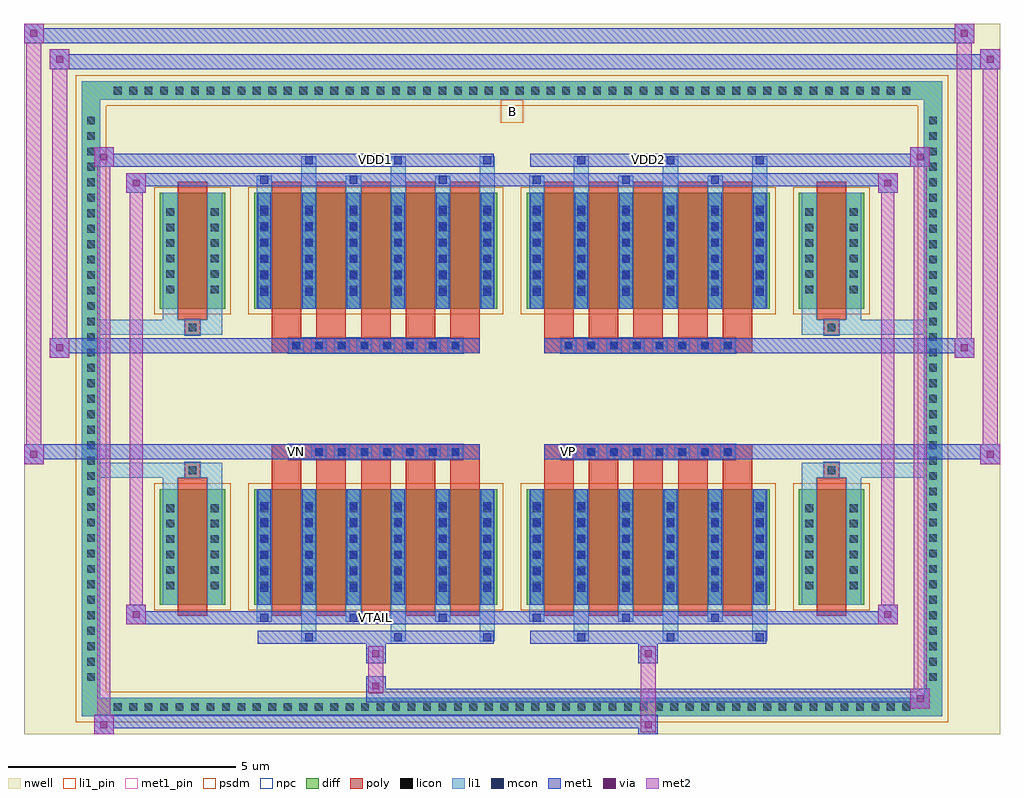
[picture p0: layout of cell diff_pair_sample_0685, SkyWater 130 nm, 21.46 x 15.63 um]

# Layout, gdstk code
import gdstk
lib = gdstk.Library(unit=1e-6, precision=5e-09)
def R(c, l, rs):  # rectangles x0, y0, x1, y1
    for r in rs: c.add(gdstk.rectangle(r[:2], r[2:], *l))
def A(c, l, x, y, w, h, nx, ny, dx, dy):  # array of equal rectangles
    R(c, l, [(x+i*dx, y+j*dy, x+i*dx+w, y+j*dy+h) for i in range(nx) for j in range(ny)])
def P(c, l, *ps):  # polygons
    for p in ps: c.add(gdstk.Polygon(p, *l))
nwell = (64, 20)
diff = (65, 20)
poly = (66, 20)
licon = (66, 44)
li1_pin = (67, 16)
li1 = (67, 20)
mcon = (67, 44)
met1_pin = (68, 16)
met1 = (68, 20)
via = (68, 44)
met2 = (69, 20)
psdm = (94, 20)
npc = (95, 20)

diff_pair_sample_0685 = lib.new_cell('diff_pair_sample_0685')
R(diff_pair_sample_0685, nwell, [(-10.73,-7.38,10.73,8.25), (-8.05,-5.57,-0.01,-0.805), (0.01,-5.57,8.05,-0.805), (-8.05,0.805,-0.01,5.57), (0.01,0.805,8.05,5.57)])
A(diff_pair_sample_0685, diff, -8.875, -6.98, 0.41, 0.41, 52, 2, 0.34, 13.55)
A(diff_pair_sample_0685, diff, -9.46, -6.325, 0.41, 0.41, 1, 37, 0, 0.34)
A(diff_pair_sample_0685, diff, 9.05, -6.325, 0.41, 0.41, 1, 37, 0, 0.34)
R(diff_pair_sample_0685, diff, [(-8.875,-6.98,8.875,-6.57), (-9.46,-6.325,-9.05,6.325), (9.05,-6.325,9.46,6.325), (-7.74,-4.525,-6.31,-1.985), (-5.67,-4.525,-0.32,-1.985), (0.32,-4.525,5.67,-1.985), (6.31,-4.525,7.74,-1.985), (-7.74,1.985,-6.31,4.525), (-5.67,1.985,-0.32,4.525), (0.32,1.985,5.67,4.525), (6.31,1.985,7.74,4.525), (-8.875,6.57,8.875,6.98)])
P(diff_pair_sample_0685, diff, [(9.46,6.98),(-9.46,6.98),(-9.46,-6.57),(-9.05,-6.57),(-9.05,6.57),(9.05,6.57),(9.05,-6.57),(-9.05,-6.57),(-9.46,-6.57),(-9.46,-6.98),(9.46,-6.98)])
A(diff_pair_sample_0685, poly, -5.28, -4.775, 0.65, 3.04, 5, 2, 0.98, 6.51)
A(diff_pair_sample_0685, poly, 0.71, -4.775, 0.65, 3.04, 5, 2, 0.98, 6.51)
A(diff_pair_sample_0685, poly, -5.28, -1.735, 0.65, 0.4, 5, 2, 0.98, 3.07)
A(diff_pair_sample_0685, poly, 0.71, -1.735, 0.65, 0.4, 5, 2, 0.98, 3.07)
A(diff_pair_sample_0685, poly, -4.91, -1.335, 0.33, 0.33, 8, 2, 0.5, 2.34)
A(diff_pair_sample_0685, poly, 1.08, -1.335, 0.33, 0.33, 8, 2, 0.5, 2.34)
R(diff_pair_sample_0685, poly, [(-7.35,-4.775,-6.7,-1.735), (6.7,-4.775,7.35,-1.735), (-7.19,-1.735,-6.86,-1.405), (-7.19,-1.735,-6.86,-1.405), (6.86,-1.735,7.19,-1.405), (6.86,-1.735,7.19,-1.405), (-5.28,-1.335,-0.71,-1.005), (0.71,-1.335,5.28,-1.005), (-5.28,1.005,-0.71,1.335), (0.71,1.005,5.28,1.335), (-7.19,1.405,-6.86,1.735), (-7.19,1.405,-6.86,1.735), (6.86,1.405,7.19,1.735), (6.86,1.405,7.19,1.735), (-7.35,1.735,-6.7,4.775), (6.7,1.735,7.35,4.775)])
A(diff_pair_sample_0685, licon, -8.755, -6.86, 0.17, 0.17, 52, 2, 0.34, 13.55)
A(diff_pair_sample_0685, licon, -9.34, -6.205, 0.17, 0.17, 1, 37, 0, 0.34)
A(diff_pair_sample_0685, licon, 9.17, -6.205, 0.17, 0.17, 1, 37, 0, 0.34)
A(diff_pair_sample_0685, licon, -7.6, -4.19, 0.17, 0.17, 1, 6, 0, 0.34)
A(diff_pair_sample_0685, licon, -6.62, -4.19, 0.17, 0.17, 1, 6, 0, 0.34)
A(diff_pair_sample_0685, licon, -5.53, -4.19, 0.17, 0.17, 6, 6, 0.98, 0.34)
A(diff_pair_sample_0685, licon, 0.46, -4.19, 0.17, 0.17, 6, 6, 0.98, 0.34)
A(diff_pair_sample_0685, licon, 6.45, -4.19, 0.17, 0.17, 1, 6, 0, 0.34)
A(diff_pair_sample_0685, licon, 7.43, -4.19, 0.17, 0.17, 1, 6, 0, 0.34)
A(diff_pair_sample_0685, licon, -4.83, -1.255, 0.17, 0.17, 8, 2, 0.5, 2.34)
A(diff_pair_sample_0685, licon, 1.16, -1.255, 0.17, 0.17, 8, 2, 0.5, 2.34)
A(diff_pair_sample_0685, licon, -7.6, 2.32, 0.17, 0.17, 1, 6, 0, 0.34)
A(diff_pair_sample_0685, licon, -6.62, 2.32, 0.17, 0.17, 1, 6, 0, 0.34)
A(diff_pair_sample_0685, licon, -5.53, 2.32, 0.17, 0.17, 6, 6, 0.98, 0.34)
A(diff_pair_sample_0685, licon, 0.46, 2.32, 0.17, 0.17, 6, 6, 0.98, 0.34)
A(diff_pair_sample_0685, licon, 6.45, 2.32, 0.17, 0.17, 1, 6, 0, 0.34)
A(diff_pair_sample_0685, licon, 7.43, 2.32, 0.17, 0.17, 1, 6, 0, 0.34)
R(diff_pair_sample_0685, licon, [(-7.11,-1.655,-6.94,-1.485), (6.94,-1.655,7.11,-1.485), (-7.11,1.485,-6.94,1.655), (6.94,1.485,7.11,1.655)])
R(diff_pair_sample_0685, li1_pin, [(-0.25,6.07,0.25,6.57)])
A(diff_pair_sample_0685, li1, -8.835, -6.94, 0.33, 0.33, 52, 2, 0.34, 13.55)
A(diff_pair_sample_0685, li1, -9.42, -6.285, 0.33, 0.33, 1, 37, 0, 0.34)
A(diff_pair_sample_0685, li1, 9.09, -6.285, 0.33, 0.33, 1, 37, 0, 0.34)
A(diff_pair_sample_0685, li1, -4.63, -5.33, 0.33, 0.805, 3, 2, 1.96, 9.855)
A(diff_pair_sample_0685, li1, -4.55, -5.33, 0.17, 0.17, 3, 2, 1.96, 10.49)
A(diff_pair_sample_0685, li1, 1.36, -5.33, 0.33, 0.805, 3, 2, 1.96, 9.855)
A(diff_pair_sample_0685, li1, 1.44, -5.33, 0.17, 0.17, 3, 2, 1.96, 10.49)
A(diff_pair_sample_0685, li1, -5.61, -4.9, 0.33, 0.375, 3, 2, 1.96, 9.425)
A(diff_pair_sample_0685, li1, -5.53, -4.9, 0.17, 0.17, 3, 2, 1.96, 9.63)
A(diff_pair_sample_0685, li1, 0.38, -4.9, 0.33, 0.375, 3, 2, 1.96, 9.425)
A(diff_pair_sample_0685, li1, 0.46, -4.9, 0.17, 0.17, 3, 2, 1.96, 9.63)
A(diff_pair_sample_0685, li1, -5.61, -4.525, 0.33, 2.54, 6, 2, 0.98, 6.51)
A(diff_pair_sample_0685, li1, 0.38, -4.525, 0.33, 2.54, 6, 2, 0.98, 6.51)
A(diff_pair_sample_0685, li1, -7.68, -4.27, 0.33, 0.33, 1, 6, 0, 0.34)
A(diff_pair_sample_0685, li1, -6.7, -4.27, 0.33, 0.33, 1, 6, 0, 0.34)
A(diff_pair_sample_0685, li1, -5.61, -4.27, 0.33, 0.33, 6, 6, 0.98, 0.34)
A(diff_pair_sample_0685, li1, 0.38, -4.27, 0.33, 0.33, 6, 6, 0.98, 0.34)
A(diff_pair_sample_0685, li1, 6.37, -4.27, 0.33, 0.33, 1, 6, 0, 0.34)
A(diff_pair_sample_0685, li1, 7.35, -4.27, 0.33, 0.33, 1, 6, 0, 0.34)
A(diff_pair_sample_0685, li1, -5.53, -4.24, 0.17, 0.17, 6, 6, 0.98, 0.36)
A(diff_pair_sample_0685, li1, -5.53, -4.24, 0.17, 1.97, 6, 2, 0.98, 6.51)
A(diff_pair_sample_0685, li1, 0.46, -4.24, 0.17, 0.17, 6, 6, 0.98, 0.36)
A(diff_pair_sample_0685, li1, 0.46, -4.24, 0.17, 1.97, 6, 2, 0.98, 6.51)
A(diff_pair_sample_0685, li1, -4.91, -1.335, 0.33, 0.33, 8, 2, 0.5, 2.34)
A(diff_pair_sample_0685, li1, 1.08, -1.335, 0.33, 0.33, 8, 2, 0.5, 2.34)
A(diff_pair_sample_0685, li1, -7.68, 2.24, 0.33, 0.33, 1, 6, 0, 0.34)
A(diff_pair_sample_0685, li1, -6.7, 2.24, 0.33, 0.33, 1, 6, 0, 0.34)
A(diff_pair_sample_0685, li1, -5.61, 2.24, 0.33, 0.33, 6, 6, 0.98, 0.34)
A(diff_pair_sample_0685, li1, 0.38, 2.24, 0.33, 0.33, 6, 6, 0.98, 0.34)
A(diff_pair_sample_0685, li1, 6.37, 2.24, 0.33, 0.33, 1, 6, 0, 0.34)
A(diff_pair_sample_0685, li1, 7.35, 2.24, 0.33, 0.33, 1, 6, 0, 0.34)
A(diff_pair_sample_0685, li1, -5.53, 2.27, 0.17, 0.17, 6, 6, 0.98, 0.36)
A(diff_pair_sample_0685, li1, 0.46, 2.27, 0.17, 0.17, 6, 6, 0.98, 0.36)
R(diff_pair_sample_0685, li1, [(-9.46,-6.98,-9.05,-6.57), (-9.46,-6.98,-9.05,-6.57), (-9.05,-6.98,9.05,-6.57), (9.05,-6.98,9.46,-6.57), (9.05,-6.98,9.46,-6.57), (-9.46,-6.57,-9.05,6.57), (9.05,-6.57,9.46,6.57), (-7.68,-4.525,-7.35,-1.985), (-6.7,-4.525,-6.37,-1.985), (6.37,-4.525,6.7,-1.985), (7.35,-4.525,7.68,-1.985), (-7.68,-1.985,-7.35,-1.405), (-6.7,-1.985,-6.37,-1.405), (6.37,-1.985,6.7,-1.405), (7.35,-1.985,7.68,-1.405), (-9.46,-1.735,-7.19,-1.405), (-7.68,-1.735,-7.19,-1.405), (-7.19,-1.735,-6.86,-1.405), (-6.86,-1.735,-6.37,-1.405), (6.37,-1.735,6.86,-1.405), (6.86,-1.735,7.19,-1.405), (6.86,-1.735,9.46,-1.405), (7.19,-1.735,7.68,-1.405), (-9.46,1.405,-7.19,1.735), (-7.68,1.405,-7.19,1.735), (-7.68,1.405,-7.35,1.985), (-7.19,1.405,-6.86,1.735), (-6.86,1.405,-6.37,1.735), (-6.7,1.405,-6.37,1.985), (6.37,1.405,6.86,1.735), (6.37,1.405,6.7,1.985), (6.86,1.405,7.19,1.735), (6.86,1.405,9.46,1.735), (7.19,1.405,7.68,1.735), (7.35,1.405,7.68,1.985), (-7.68,1.985,-7.35,4.525), (-6.7,1.985,-6.37,4.525), (6.37,1.985,6.7,4.525), (7.35,1.985,7.68,4.525), (-9.46,6.57,-9.05,6.98), (-9.46,6.57,-9.05,6.98), (-9.05,6.57,9.05,6.98), (9.05,6.57,9.46,6.98), (9.05,6.57,9.46,6.98)])
A(diff_pair_sample_0685, mcon, -4.55, -5.33, 0.17, 0.17, 3, 2, 1.96, 10.49)
A(diff_pair_sample_0685, mcon, 1.44, -5.33, 0.17, 0.17, 3, 2, 1.96, 10.49)
A(diff_pair_sample_0685, mcon, -5.53, -4.9, 0.17, 0.17, 3, 2, 1.96, 9.63)
A(diff_pair_sample_0685, mcon, 0.46, -4.9, 0.17, 0.17, 3, 2, 1.96, 9.63)
A(diff_pair_sample_0685, mcon, -5.53, -4.24, 0.17, 0.17, 6, 6, 0.98, 0.36)
A(diff_pair_sample_0685, mcon, 0.46, -4.24, 0.17, 0.17, 6, 6, 0.98, 0.36)
A(diff_pair_sample_0685, mcon, -4.83, -1.255, 0.17, 0.17, 8, 2, 0.5, 2.34)
A(diff_pair_sample_0685, mcon, 1.16, -1.255, 0.17, 0.17, 8, 2, 0.5, 2.34)
A(diff_pair_sample_0685, mcon, -5.53, 2.27, 0.17, 0.17, 6, 6, 0.98, 0.36)
A(diff_pair_sample_0685, mcon, 0.46, 2.27, 0.17, 0.17, 6, 6, 0.98, 0.36)
R(diff_pair_sample_0685, met1_pin, [(-3.13,-4.94,-2.86,-4.67), (-4.88,-1.295,-4.61,-1.025), (1.11,-1.295,1.38,-1.025), (-3.13,5.12,-2.86,5.39), (2.86,5.12,3.13,5.39)])
A(diff_pair_sample_0685, met1, -4.61, -5.39, 0.29, 0.29, 3, 2, 1.96, 10.49)
A(diff_pair_sample_0685, met1, 1.38, -5.39, 0.29, 0.29, 3, 2, 1.96, 10.49)
A(diff_pair_sample_0685, met1, -5.59, -4.96, 0.29, 0.29, 3, 2, 1.96, 9.63)
A(diff_pair_sample_0685, met1, 0.4, -4.96, 0.29, 0.29, 3, 2, 1.96, 9.63)
A(diff_pair_sample_0685, met1, -5.59, -4.525, 0.29, 2.54, 6, 2, 0.98, 6.51)
A(diff_pair_sample_0685, met1, 0.4, -4.525, 0.29, 2.54, 6, 2, 0.98, 6.51)
A(diff_pair_sample_0685, met1, -5.59, -4.3, 0.29, 0.29, 6, 6, 0.98, 0.36)
A(diff_pair_sample_0685, met1, 0.4, -4.3, 0.29, 0.29, 6, 6, 0.98, 0.36)
A(diff_pair_sample_0685, met1, -4.89, -1.315, 0.29, 0.29, 8, 2, 0.5, 2.34)
A(diff_pair_sample_0685, met1, 1.1, -1.315, 0.29, 0.29, 8, 2, 0.5, 2.34)
A(diff_pair_sample_0685, met1, -5.59, 2.21, 0.29, 0.29, 6, 6, 0.98, 0.36)
A(diff_pair_sample_0685, met1, 0.4, 2.21, 0.29, 0.29, 6, 6, 0.98, 0.36)
R(diff_pair_sample_0685, met1, [(-9.19,-7.38,-8.76,-6.95), (2.78,-7.38,3.21,-6.95), (-9.19,-7.24,3.21,-6.95), (8.76,-6.81,9.19,-6.38), (-3.21,-6.67,9.19,-6.38), (-3.21,-6.53,-2.78,-6.1), (-3.21,-5.82,-2.78,-5.39), (2.78,-5.82,3.21,-5.39), (-5.59,-5.39,-0.4,-5.1), (0.4,-5.39,5.59,-5.1), (-8.48,-4.96,-8.05,-4.53), (-8.48,-4.96,-5.59,-4.67), (-5.59,-4.96,-0.4,-4.67), (-0.4,-4.96,0.4,-4.67), (0.4,-4.96,5.59,-4.67), (5.59,-4.96,8.48,-4.67), (8.05,-4.96,8.48,-4.53), (-10.73,-1.435,-10.3,-1.005), (10.3,-1.435,10.73,-1.005), (-10.73,-1.335,-0.71,-1.005), (-5.28,-1.335,-0.71,-1.005), (0.71,-1.335,5.28,-1.005), (0.71,-1.335,10.73,-1.005), (-10.16,0.905,-9.73,1.335), (9.73,0.905,10.16,1.335), (-10.16,1.005,-5.28,1.335), (-5.28,1.005,-0.71,1.335), (0.71,1.005,5.28,1.335), (5.28,1.005,10.16,1.335), (-8.48,4.53,-8.05,4.96), (8.05,4.53,8.48,4.96), (-8.48,4.67,-5.59,4.96), (-5.59,4.67,-0.4,4.96), (-0.4,4.67,0.4,4.96), (0.4,4.67,5.59,4.96), (5.59,4.67,8.48,4.96), (-9.19,5.1,-8.76,5.53), (-9.19,5.1,-5.59,5.39), (-5.59,5.1,-0.4,5.39), (0.4,5.1,5.59,5.39), (5.59,5.1,9.19,5.39), (8.76,5.1,9.19,5.53), (-10.16,7.25,-9.73,7.68), (-10.16,7.25,-8.05,7.58), (-8.05,7.25,8.05,7.58), (8.05,7.25,10.73,7.58), (10.3,7.25,10.73,7.68), (-10.73,7.82,-10.3,8.25), (-10.73,7.82,-8.05,8.15), (-8.05,7.82,8.05,8.15), (8.05,7.82,10.16,8.15), (9.73,7.82,10.16,8.25)])
R(diff_pair_sample_0685, via, [(-9.05,-7.24,-8.9,-7.09), (2.92,-7.24,3.07,-7.09), (8.9,-6.67,9.05,-6.52), (-3.07,-6.39,-2.92,-6.24), (-3.07,-5.68,-2.92,-5.53), (2.92,-5.68,3.07,-5.53), (-8.34,-4.82,-8.19,-4.67), (8.19,-4.82,8.34,-4.67), (-10.59,-1.295,-10.44,-1.145), (10.44,-1.295,10.59,-1.145), (-10.02,1.045,-9.87,1.195), (9.87,1.045,10.02,1.195), (-8.34,4.67,-8.19,4.82), (8.19,4.67,8.34,4.82), (-9.05,5.24,-8.9,5.39), (8.9,5.24,9.05,5.39), (-10.02,7.39,-9.87,7.54), (10.44,7.39,10.59,7.54), (-10.59,7.96,-10.44,8.11), (9.87,7.96,10.02,8.11)])
R(diff_pair_sample_0685, met2, [(-9.19,-7.38,-8.76,-6.95), (-9.12,-7.38,-8.83,5.53), (-8.83,-7.38,-8.76,-6.95), (-9.14,-7.33,-8.81,-7), (2.83,-7.33,3.16,-7), (2.83,-7,3.16,-5.77), (8.76,-6.81,9.19,-6.38), (8.83,-6.81,9.12,5.53), (9.12,-6.81,9.19,-6.38), (8.81,-6.76,9.14,-6.43), (-3.16,-6.48,-2.83,-6.15), (-3.16,-6.15,-2.83,-5.77), (-3.16,-5.77,-2.83,-5.44), (2.83,-5.77,3.16,-5.44), (-8.48,-4.96,-8.05,-4.53), (-8.41,-4.96,-8.12,4.96), (-8.12,-4.96,-8.05,-4.53), (8.05,-4.96,8.48,-4.53), (8.12,-4.96,8.41,4.96), (8.41,-4.96,8.48,-4.53), (-8.43,-4.91,-8.1,-4.58), (8.1,-4.91,8.43,-4.58), (-10.73,-1.435,-10.3,-1.005), (-10.68,-1.435,-10.35,8.25), (-10.35,-1.435,-10.3,-1.005), (10.3,-1.435,10.73,-1.005), (10.35,-1.435,10.68,7.68), (10.68,-1.435,10.73,-1.005), (-10.68,-1.385,-10.35,-1.055), (10.35,-1.385,10.68,-1.055), (-10.16,0.905,-9.73,1.335), (-10.11,0.905,-9.78,7.68), (-9.78,0.905,-9.73,1.335), (9.73,0.905,10.16,1.335), (9.78,0.905,10.11,8.25), (10.11,0.905,10.16,1.335), (-10.11,0.955,-9.78,1.285), (9.78,0.955,10.11,1.285), (-8.48,4.53,-8.05,4.96), (-8.12,4.53,-8.05,4.96), (8.05,4.53,8.48,4.96), (8.41,4.53,8.48,4.96), (-8.43,4.58,-8.1,4.91), (8.1,4.58,8.43,4.91), (-9.19,5.1,-8.76,5.53), (-8.83,5.1,-8.76,5.53), (8.76,5.1,9.19,5.53), (9.12,5.1,9.19,5.53), (-9.14,5.15,-8.81,5.48), (8.81,5.15,9.14,5.48), (-10.16,7.25,-9.73,7.68), (-9.78,7.25,-9.73,7.68), (10.3,7.25,10.73,7.68), (10.68,7.25,10.73,7.68), (-10.11,7.3,-9.78,7.63), (10.35,7.3,10.68,7.63), (-10.73,7.82,-10.3,8.25), (-10.35,7.82,-10.3,8.25), (9.73,7.82,10.16,8.25), (10.11,7.82,10.16,8.25), (-10.68,7.87,-10.35,8.2), (9.78,7.87,10.11,8.2)])
R(diff_pair_sample_0685, psdm, [(-7.87,-4.655,-6.18,-1.855), (-5.8,-4.655,-0.19,-1.855), (0.19,-4.655,5.8,-1.855), (6.18,-4.655,7.87,-1.855), (-7.87,1.855,-6.18,4.655), (-5.8,1.855,-0.19,4.655), (0.19,1.855,5.8,4.655), (6.18,1.855,7.87,4.655)])
P(diff_pair_sample_0685, psdm, [(9.59,7.11),(-9.59,7.11),(-9.59,-6.44),(-8.92,-6.44),(-8.92,6.44),(8.92,6.44),(8.92,-6.44),(-8.92,-6.44),(-9.59,-6.44),(-9.59,-7.11),(9.59,-7.11)])
A(diff_pair_sample_0685, npc, -4.93, -1.355, 0.37, 0.37, 8, 2, 0.5, 2.34)
A(diff_pair_sample_0685, npc, 1.06, -1.355, 0.37, 0.37, 8, 2, 0.5, 2.34)
R(diff_pair_sample_0685, npc, [(-7.21,-1.755,-6.84,-1.385), (6.84,-1.755,7.21,-1.385), (-4.93,-1.355,-4.06,-0.985), (-4.93,-1.355,-4.06,-0.985), (-4.43,-1.355,-3.56,-0.985), (-4.43,-1.355,-3.56,-0.985), (-3.93,-1.355,-3.06,-0.985), (-3.93,-1.355,-3.06,-0.985), (-3.43,-1.355,-2.56,-0.985), (-3.43,-1.355,-2.56,-0.985), (-2.93,-1.355,-2.06,-0.985), (-2.93,-1.355,-2.06,-0.985), (-2.43,-1.355,-1.56,-0.985), (-2.43,-1.355,-1.56,-0.985), (-1.93,-1.355,-1.06,-0.985), (-1.93,-1.355,-1.06,-0.985), (1.06,-1.355,1.93,-0.985), (1.06,-1.355,1.93,-0.985), (1.56,-1.355,2.43,-0.985), (1.56,-1.355,2.43,-0.985), (2.06,-1.355,2.93,-0.985), (2.06,-1.355,2.93,-0.985), (2.56,-1.355,3.43,-0.985), (2.56,-1.355,3.43,-0.985), (3.06,-1.355,3.93,-0.985), (3.06,-1.355,3.93,-0.985), (3.56,-1.355,4.43,-0.985), (3.56,-1.355,4.43,-0.985), (4.06,-1.355,4.93,-0.985), (4.06,-1.355,4.93,-0.985), (-4.93,0.985,-4.06,1.355), (-4.93,0.985,-4.06,1.355), (-4.43,0.985,-3.56,1.355), (-4.43,0.985,-3.56,1.355), (-3.93,0.985,-3.06,1.355), (-3.93,0.985,-3.06,1.355), (-3.43,0.985,-2.56,1.355), (-3.43,0.985,-2.56,1.355), (-2.93,0.985,-2.06,1.355), (-2.93,0.985,-2.06,1.355), (-2.43,0.985,-1.56,1.355), (-2.43,0.985,-1.56,1.355), (-1.93,0.985,-1.06,1.355), (-1.93,0.985,-1.06,1.355), (1.06,0.985,1.93,1.355), (1.06,0.985,1.93,1.355), (1.56,0.985,2.43,1.355), (1.56,0.985,2.43,1.355), (2.06,0.985,2.93,1.355), (2.06,0.985,2.93,1.355), (2.56,0.985,3.43,1.355), (2.56,0.985,3.43,1.355), (3.06,0.985,3.93,1.355), (3.06,0.985,3.93,1.355), (3.56,0.985,4.43,1.355), (3.56,0.985,4.43,1.355), (4.06,0.985,4.93,1.355), (4.06,0.985,4.93,1.355), (-7.21,1.385,-6.84,1.755), (6.84,1.385,7.21,1.755)])
diff_pair_sample_0685.add(gdstk.Label('VTAIL', (-2.995,-4.805), layer=68, texttype=5))
diff_pair_sample_0685.add(gdstk.Label('VN', (-4.745,-1.16), layer=68, texttype=5))
diff_pair_sample_0685.add(gdstk.Label('VP', (1.245,-1.16), layer=68, texttype=5))
diff_pair_sample_0685.add(gdstk.Label('B', (0,6.32), layer=67, texttype=5))
diff_pair_sample_0685.add(gdstk.Label('VDD2', (2.995,5.255), layer=68, texttype=5))
diff_pair_sample_0685.add(gdstk.Label('VDD1', (-2.995,5.255), layer=68, texttype=5))

lib.write_gds('diff_pair_sample_0685.gds')
